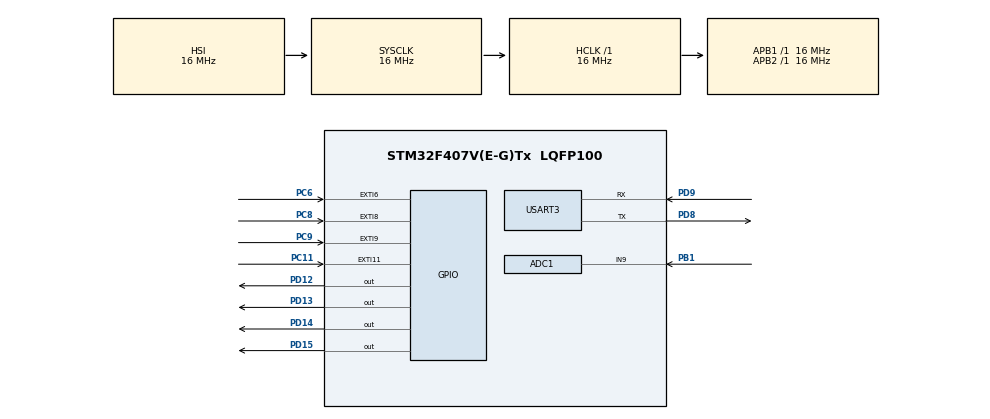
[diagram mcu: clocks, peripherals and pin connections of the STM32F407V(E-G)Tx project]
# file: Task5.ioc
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ADC1.Channel-0\#ChannelRegularConversion=ADC_CHANNEL_9
ADC1.ClockPrescaler=ADC_CLOCK_SYNC_PCLK_DIV8
ADC1.ContinuousConvMode=ENABLE
ADC1.NbrOfConversionFlag=1
ADC1.Rank-0\#ChannelRegularConversion=1
ADC1.SamplingTime-0\#ChannelRegularConversion=ADC_SAMPLETIME_480CYCLES
ADC1.master=1
Mcu.Family=STM32F4
Mcu.Name=STM32F407V(E-G)Tx
Mcu.Package=LQFP100
NVIC.EXTI15_10_IRQn=true\:0\:0\:false\:false\:true\:true\:true
NVIC.EXTI9_5_IRQn=true\:0\:0\:false\:false\:true\:true\:true
NVIC.PriorityGroup=NVIC_PRIORITYGROUP_4
PB1.Signal=ADCx_IN9
PC11.GPIO_ModeDefaultEXTI=GPIO_MODE_IT_FALLING
PC11.Signal=GPXTI11
PC6.GPIO_ModeDefaultEXTI=GPIO_MODE_IT_FALLING
PC6.Signal=GPXTI6
PC8.GPIO_ModeDefaultEXTI=GPIO_MODE_IT_FALLING
PC8.Signal=GPXTI8
PC9.GPIO_ModeDefaultEXTI=GPIO_MODE_IT_FALLING
PC9.Signal=GPXTI9
PD12.Signal=GPIO_Output
PD13.Signal=GPIO_Output
PD14.Signal=GPIO_Output
PD15.Signal=GPIO_Output
PD8.Mode=Asynchronous
PD8.Signal=USART3_TX
PD9.Mode=Asynchronous
PD9.Signal=USART3_RX
ProjectManager.HeapSize=0x200
ProjectManager.StackSize=0x400
ProjectManager.TargetToolchain=STM32CubeIDE
RCC.AHBFreq_Value=16000000
RCC.APB1Freq_Value=16000000
RCC.APB2Freq_Value=16000000
RCC.CortexFreq_Value=16000000
RCC.HSE_VALUE=25000000
RCC.HSI_VALUE=16000000
RCC.LSE_VALUE=32768
RCC.SYSCLKFreq_VALUE=16000000
RCC.VCOOutputFreq_Value=192000000
SH.ADCx_IN9.0=ADC1_IN9,IN9
USART3.VirtualMode=VM_ASYNC
board=custom

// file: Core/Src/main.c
/* USER CODE BEGIN Header */
/**
 ******************************************************************************
 * @file           : main.c
 * @brief          : Main program body
 ******************************************************************************
 * @attention
 *
 * <h2><center>&copy; Copyright (c) 2021 STMicroelectronics.
 * All rights reserved.</center></h2>
 *
 * This software component is licensed by ST under BSD 3-Clause license,
 * the "License"; You may not use this file except in compliance with the
 * License. You may obtain a copy of the License at:
 *                        opensource.org/licenses/BSD-3-Clause
 *
 ******************************************************************************
 */
/* USER CODE END Header */
#include "main.h"

/* USER CODE BEGIN Includes */
#include <stdio.h>
#include <stdlib.h>
#include <string.h>
/* USER CODE END Includes */

/* USER CODE BEGIN PD */
#define V_REF 2.980
#define SEND_TEMP_T 5000

#define ADC_MAX_VALUE 4095
#define ADC_MIN_VALUE 0
/* USER CODE END PD */

ADC_HandleTypeDef hadc1;

UART_HandleTypeDef huart3;

/* USER CODE BEGIN PV */
uint32_t T = 0;
uint8_t flag = 0;

float V_ext = 0;						//voltage of external sensor in mV
int temp_ext = 0;						//temp of external sensor in Celsius

uint8_t pinStates[4] = {0};
/* USER CODE END PV */

void SystemClock_Config(void);
static void MX_GPIO_Init(void);
static void MX_USART3_UART_Init(void);
static void MX_ADC1_Init(void);

/* USER CODE BEGIN 0 */
void SendTemp()
{
	uint8_t str[15];
	sprintf((char *)str, "Temp = %d C\r\n", temp_ext);
	if (HAL_GetTick() - T >= SEND_TEMP_T) {
		HAL_UART_Transmit(&huart3, str, sizeof(str), 10);
		T = HAL_GetTick();
	}
}

void ToggleLEDs(uint8_t led_number)
{
	led_number = led_number - '0';
	pinStates[led_number] = !pinStates[led_number];
	HAL_GPIO_WritePin(GPIOD, GPIO_PIN_12 << led_number, pinStates[led_number]);
	uint8_t msg[16] = {0};
	switch (led_number) {
	case 0:
		pinStates[0] ? strcpy((char *)msg, "Green ON\r\n") : strcpy((char *)msg, "Green OFF\r\n");
		break;
	case 1:
		pinStates[1] ? strcpy((char *)msg, "Orange ON\r\n") : strcpy((char *)msg, "Orange OFF\r\n");
		break;
	case 2:
		pinStates[2] ? strcpy((char *)msg, "Red ON\r\n") : strcpy((char *)msg, "Red OFF\r\n");
		break;
	case 3:
		pinStates[3] ? strcpy((char *)msg, "Blue ON\r\n") : strcpy((char *)msg, "Blue OFF\r\n");
		break;
	default:
		strcpy((char *)msg, "Bad command\r\n");
		break;
	}
	HAL_UART_Transmit(&huart3, msg, sizeof(msg), 10);
}
void HAL_GPIO_EXTI_Callback(uint16_t GPIO_Pin)
{
    switch(GPIO_Pin)
    {
    	case GPIO_PIN_6:
    		ToggleLEDs('0');
    		break;
    	case GPIO_PIN_8:
			ToggleLEDs('1');
			break;
    	case GPIO_PIN_9:
			ToggleLEDs('2');
			break;
    	case GPIO_PIN_11:
			ToggleLEDs('3');
			break;
    }
}
/* USER CODE END 0 */

int main(void)
{

  /* MCU Configuration--------------------------------------------------------*/

  /* Reset of all peripherals, Initializes the Flash interface and the Systick. */
  HAL_Init();

  /* Configure the system clock */
  SystemClock_Config();

  /* Initialize all configured peripherals */
  MX_GPIO_Init();
  MX_USART3_UART_Init();
  MX_ADC1_Init();
  /* USER CODE BEGIN 2 */
  uint16_t adcVal = 0;
  volatile HAL_StatusTypeDef adcPoolResult;

  HAL_ADC_Start(&hadc1);

  T = HAL_GetTick();
  /* USER CODE END 2 */

  /* Infinite loop */
  /* USER CODE BEGIN WHILE */
	while (1) {
		uint8_t rcvBuf[1];

		HAL_StatusTypeDef result;

		SendTemp();

		adcPoolResult = HAL_ADC_PollForConversion(&hadc1, 100);

		if(adcPoolResult == HAL_OK)
			adcVal = HAL_ADC_GetValue(&hadc1);

		V_ext = ((float)adcVal/ADC_MAX_VALUE) * V_REF;
		temp_ext = 101-50*V_ext;

		result = HAL_UART_Receive(&huart3, rcvBuf, 1, 10);
		if (result == HAL_OK) {
			ToggleLEDs(rcvBuf[0]);
		}
    /* USER CODE END WHILE */

	}
}

void SystemClock_Config(void)
{
  RCC_OscInitTypeDef RCC_OscInitStruct = {0};
  RCC_ClkInitTypeDef RCC_ClkInitStruct = {0};

  /** Configure the main internal regulator output voltage
  */
  __HAL_RCC_PWR_CLK_ENABLE();
  __HAL_PWR_VOLTAGESCALING_CONFIG(PWR_REGULATOR_VOLTAGE_SCALE1);
  /** Initializes the RCC Oscillators according to the specified parameters
  * in the RCC_OscInitTypeDef structure.
  */
  RCC_OscInitStruct.OscillatorType = RCC_OSCILLATORTYPE_HSI;
  RCC_OscInitStruct.HSIState = RCC_HSI_ON;
  RCC_OscInitStruct.HSICalibrationValue = RCC_HSICALIBRATION_DEFAULT;
  RCC_OscInitStruct.PLL.PLLState = RCC_PLL_NONE;
  if (HAL_RCC_OscConfig(&RCC_OscInitStruct) != HAL_OK)
  {
    Error_Handler();
  }
  /** Initializes the CPU, AHB and APB buses clocks
  */
  RCC_ClkInitStruct.ClockType = RCC_CLOCKTYPE_HCLK|RCC_CLOCKTYPE_SYSCLK
                              |RCC_CLOCKTYPE_PCLK1|RCC_CLOCKTYPE_PCLK2;
  RCC_ClkInitStruct.SYSCLKSource = RCC_SYSCLKSOURCE_HSI;
  RCC_ClkInitStruct.AHBCLKDivider = RCC_SYSCLK_DIV1;
  RCC_ClkInitStruct.APB1CLKDivider = RCC_HCLK_DIV1;
  RCC_ClkInitStruct.APB2CLKDivider = RCC_HCLK_DIV1;

  if (HAL_RCC_ClockConfig(&RCC_ClkInitStruct, FLASH_LATENCY_0) != HAL_OK)
  {
    Error_Handler();
  }
}

static void MX_ADC1_Init(void)
{

  ADC_ChannelConfTypeDef sConfig = {0};

  /** Configure the global features of the ADC (Clock, Resolution, Data Alignment and number of conversion)
  */
  hadc1.Instance = ADC1;
  hadc1.Init.ClockPrescaler = ADC_CLOCK_SYNC_PCLK_DIV8;
  hadc1.Init.Resolution = ADC_RESOLUTION_12B;
  hadc1.Init.ScanConvMode = DISABLE;
  hadc1.Init.ContinuousConvMode = ENABLE;
  hadc1.Init.DiscontinuousConvMode = DISABLE;
  hadc1.Init.ExternalTrigConvEdge = ADC_EXTERNALTRIGCONVEDGE_NONE;
  hadc1.Init.ExternalTrigConv = ADC_SOFTWARE_START;
  hadc1.Init.DataAlign = ADC_DATAALIGN_RIGHT;
  hadc1.Init.NbrOfConversion = 1;
  hadc1.Init.DMAContinuousRequests = DISABLE;
  hadc1.Init.EOCSelection = ADC_EOC_SINGLE_CONV;
  if (HAL_ADC_Init(&hadc1) != HAL_OK)
  {
    Error_Handler();
  }
  /** Configure for the selected ADC regular channel its corresponding rank in the sequencer and its sample time.
  */
  sConfig.Channel = ADC_CHANNEL_9;
  sConfig.Rank = 1;
  sConfig.SamplingTime = ADC_SAMPLETIME_480CYCLES;
  if (HAL_ADC_ConfigChannel(&hadc1, &sConfig) != HAL_OK)
  {
    Error_Handler();
  }

}

static void MX_USART3_UART_Init(void)
{

  huart3.Instance = USART3;
  huart3.Init.BaudRate = 115200;
  huart3.Init.WordLength = UART_WORDLENGTH_8B;
  huart3.Init.StopBits = UART_STOPBITS_1;
  huart3.Init.Parity = UART_PARITY_NONE;
  huart3.Init.Mode = UART_MODE_TX_RX;
  huart3.Init.HwFlowCtl = UART_HWCONTROL_NONE;
  huart3.Init.OverSampling = UART_OVERSAMPLING_16;
  if (HAL_UART_Init(&huart3) != HAL_OK)
  {
    Error_Handler();
  }

}

static void MX_GPIO_Init(void)
{
  GPIO_InitTypeDef GPIO_InitStruct = {0};

  /* GPIO Ports Clock Enable */
  __HAL_RCC_GPIOB_CLK_ENABLE();
  __HAL_RCC_GPIOD_CLK_ENABLE();
  __HAL_RCC_GPIOC_CLK_ENABLE();

  /*Configure GPIO pin Output Level */
  HAL_GPIO_WritePin(GPIOD, GPIO_PIN_12|GPIO_PIN_13|GPIO_PIN_14|GPIO_PIN_15, GPIO_PIN_RESET);

  /*Configure GPIO pins : PD12 PD13 PD14 PD15 */
  GPIO_InitStruct.Pin = GPIO_PIN_12|GPIO_PIN_13|GPIO_PIN_14|GPIO_PIN_15;
  GPIO_InitStruct.Mode = GPIO_MODE_OUTPUT_PP;
  GPIO_InitStruct.Pull = GPIO_NOPULL;
  GPIO_InitStruct.Speed = GPIO_SPEED_FREQ_LOW;
  HAL_GPIO_Init(GPIOD, &GPIO_InitStruct);

  /*Configure GPIO pins : PC6 PC8 PC9 PC11 */
  GPIO_InitStruct.Pin = GPIO_PIN_6|GPIO_PIN_8|GPIO_PIN_9|GPIO_PIN_11;
  GPIO_InitStruct.Mode = GPIO_MODE_IT_FALLING;
  GPIO_InitStruct.Pull = GPIO_NOPULL;
  HAL_GPIO_Init(GPIOC, &GPIO_InitStruct);

  /* EXTI interrupt init*/
  HAL_NVIC_SetPriority(EXTI9_5_IRQn, 0, 0);
  HAL_NVIC_EnableIRQ(EXTI9_5_IRQn);

  HAL_NVIC_SetPriority(EXTI15_10_IRQn, 0, 0);
  HAL_NVIC_EnableIRQ(EXTI15_10_IRQn);

}

void Error_Handler(void)
{
	__disable_irq();
	while (1) {
	}
}

/************************ (C) COPYRIGHT STMicroelectronics *****END OF FILE****/
